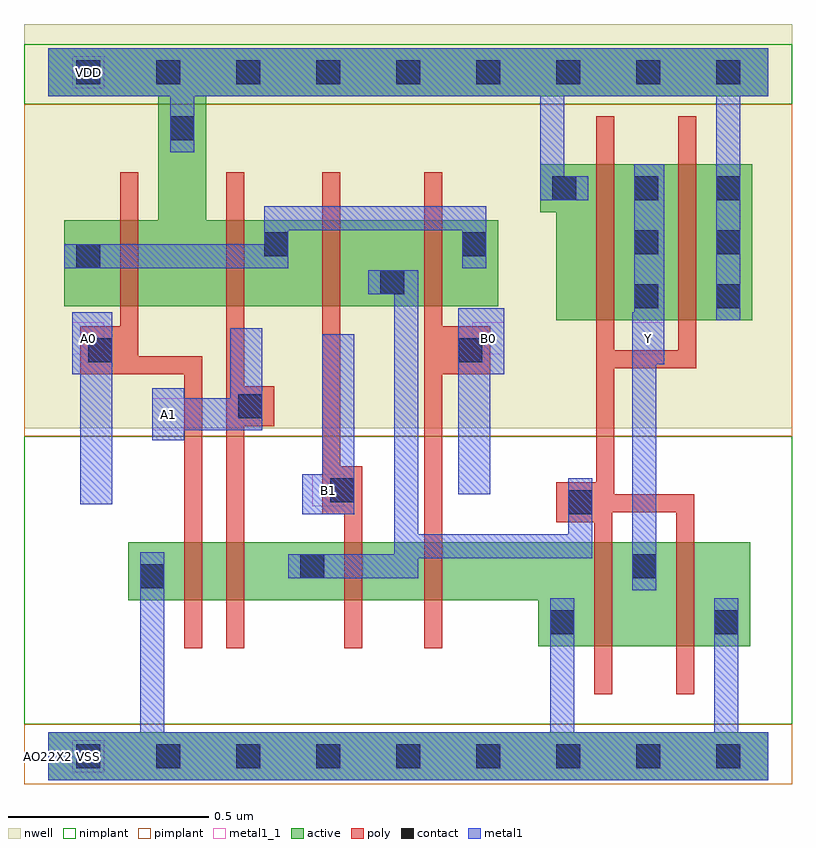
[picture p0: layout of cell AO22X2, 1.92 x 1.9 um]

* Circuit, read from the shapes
.subckt AO22X2 A0 A1 B0 B1 VDD VSS Y
M1 n1 A0 VSS VSS nfet w=0.145u l=0.045u
M2 n2 A1 n1 VSS nfet w=0.145u l=0.045u
M3 n3 B1 n2 VSS nfet w=0.145u l=0.045u
M4 VSS B0 n3 VSS nfet w=0.145u l=0.045u
M5 Y n2 VSS VSS nfet w=0.26u l=0.045u m=2
M6 VDD A0 n4 VDD pfet w=0.215u l=0.045u
M7 n4 A1 VDD VDD pfet w=0.215u l=0.045u
M8 n2 B1 n4 VDD pfet w=0.215u l=0.045u
M9 n4 B0 n2 VDD pfet w=0.215u l=0.045u
M10 Y n2 VDD VDD pfet w=0.39u l=0.045u m=2
.ends

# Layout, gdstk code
import gdstk
lib = gdstk.Library(unit=1e-6, precision=5e-10)
def R(c, l, rs):  # rectangles x0, y0, x1, y1
    for r in rs: c.add(gdstk.rectangle(r[:2], r[2:], *l))
def A(c, l, x, y, w, h, nx, ny, dx, dy):  # array of equal rectangles
    R(c, l, [(x+i*dx, y+j*dy, x+i*dx+w, y+j*dy+h) for i in range(nx) for j in range(ny)])
def P(c, l, *ps):  # polygons
    for p in ps: c.add(gdstk.Polygon(p, *l))
active = (1, 0)
nwell = (2, 0)
poly = (3, 0)
nimplant = (4, 0)
pimplant = (5, 0)
contact = (6, 0)
metal1 = (7, 0)
metal1_1 = (7, 1)

ao22x2 = lib.new_cell('AO22X2')
R(ao22x2, active, [(0,-0.06,1.8,0.06)])
P(ao22x2, active, [(0,1.77),(1.8,1.77),(1.8,1.65),(0.395,1.65),(0.395,1.34),(1.125,1.34),(1.125,1.125),(0.04,1.125),(0.04,1.34),(0.275,1.34),(0.275,1.65),(0,1.65)],
  [(1.23,1.48),(1.76,1.48),(1.76,1.09),(1.27,1.09),(1.27,1.36),(1.23,1.36)],
  [(0.2,0.535),(1.755,0.535),(1.755,0.275),(1.225,0.275),(1.225,0.39),(0.2,0.39)])
R(ao22x2, nwell, [(-0.06,0.82,1.86,1.83)])
P(ao22x2, poly, [(1.37,1.6),(1.415,1.6),(1.415,1.015),(1.575,1.015),(1.575,1.6),(1.62,1.6),(1.62,0.97),(1.415,0.97),(1.415,0.655),(1.615,0.655),(1.615,0.155),(1.57,0.155),(1.57,0.61),(1.41,0.61),(1.41,0.155),(1.365,0.155),(1.365,0.585),(1.27,0.585),(1.27,0.685),(1.37,0.685)],
  [(0.18,1.46),(0.225,1.46),(0.225,1),(0.385,1),(0.385,0.27),(0.34,0.27),(0.34,0.955),(0.08,0.955),(0.08,1.075),(0.18,1.075)],
  [(0.445,1.46),(0.49,1.46),(0.49,0.925),(0.565,0.925),(0.565,0.825),(0.49,0.825),(0.49,0.27),(0.445,0.27)],
  [(0.685,1.46),(0.73,1.46),(0.73,0.725),(0.785,0.725),(0.785,0.27),(0.74,0.27),(0.74,0.605),(0.685,0.605)],
  [(0.94,1.46),(0.985,1.46),(0.985,1.075),(1.105,1.075),(1.105,0.955),(0.985,0.955),(0.985,0.27),(0.94,0.27)])
R(ao22x2, nimplant, [(-0.06,0.08,1.86,0.8), (-0.06,1.63,1.86,1.78)])
R(ao22x2, pimplant, [(-0.06,-0.07,1.86,0.08), (-0.06,0.8,1.86,1.63)])
A(ao22x2, contact, 0.07, -0.03, 0.06, 0.06, 9, 2, 0.2, 1.71)
A(ao22x2, contact, 1.26, 1.39, 0.06, 0.06, 3, 1, 0.205, 0)
R(ao22x2, contact, [(1.255,0.305,1.315,0.365), (1.665,0.305,1.725,0.365), (0.23,0.42,0.29,0.48), (0.63,0.445,0.69,0.505), (1.46,0.445,1.52,0.505), (1.3,0.605,1.36,0.665), (0.705,0.635,0.765,0.695), (0.475,0.845,0.535,0.905), (0.1,0.985,0.16,1.045), (1.025,0.985,1.085,1.045), (1.465,1.12,1.525,1.18), (1.67,1.12,1.73,1.18), (0.83,1.155,0.89,1.215), (0.07,1.22,0.13,1.28), (0.54,1.25,0.6,1.31), (1.035,1.25,1.095,1.31), (1.465,1.255,1.525,1.315), (1.67,1.255,1.73,1.315), (0.305,1.54,0.365,1.6)])
P(ao22x2, metal1, [(0,1.77),(1.8,1.77),(1.8,1.65),(1.73,1.65),(1.73,1.09),(1.67,1.09),(1.67,1.65),(1.29,1.65),(1.29,1.45),(1.35,1.45),(1.35,1.39),(1.23,1.39),(1.23,1.65),(0.365,1.65),(0.365,1.51),(0.305,1.51),(0.305,1.65),(0,1.65)],
  [(1.465,1.48),(1.54,1.48),(1.54,0.98),(1.52,0.98),(1.52,0.415),(1.46,0.415),(1.46,1.11),(1.465,1.11)],
  [(0.54,1.375),(1.095,1.375),(1.095,1.22),(1.035,1.22),(1.035,1.315),(0.6,1.315),(0.6,1.22),(0.04,1.22),(0.04,1.28),(0.54,1.28)],
  [(0.8,1.215),(0.925,1.215),(0.925,0.555),(1.3,0.555),(1.3,0.695),(1.36,0.695),(1.36,0.495),(0.925,0.495),(0.925,0.445),(0.6,0.445),(0.6,0.505),(0.865,0.505),(0.865,1.155),(0.8,1.155)],
  [(0.06,1.11),(0.16,1.11),(0.16,0.63),(0.08,0.63),(0.08,0.955),(0.06,0.955)],
  [(0.26,0.92),(0.34,0.92),(0.34,0.895),(0.455,0.895),(0.455,1.07),(0.535,1.07),(0.535,0.815),(0.34,0.815),(0.34,0.79),(0.26,0.79)],
  [(0.685,1.055),(0.765,1.055),(0.765,0.605),(0.635,0.605),(0.635,0.705),(0.685,0.705)],
  [(1.025,1.12),(1.14,1.12),(1.14,0.955),(1.105,0.955),(1.105,0.655),(1.025,0.655)],
  [(0.23,0.51),(0.29,0.51),(0.29,0.06),(1.255,0.06),(1.255,0.395),(1.315,0.395),(1.315,0.06),(1.665,0.06),(1.665,0.395),(1.725,0.395),(1.725,0.06),(1.8,0.06),(1.8,-0.06),(0,-0.06),(0,0.06),(0.23,0.06)])
R(ao22x2, metal1_1, [(0.06,-0.04,0.14,0.04), (0.66,0.625,0.74,0.705), (0.26,0.815,0.34,0.895), (0.06,1.005,0.14,1.085), (1.06,1.005,1.14,1.085), (1.46,1.005,1.54,1.085), (0.06,1.67,0.14,1.75)])
ao22x2.add(gdstk.Label('Y', (1.5,1.045), layer=7, texttype=1))
ao22x2.add(gdstk.Label('B0', (1.1,1.045), layer=7, texttype=1))
ao22x2.add(gdstk.Label('A0', (0.1,1.045), layer=7, texttype=1))
ao22x2.add(gdstk.Label('B1', (0.7,0.665), layer=7, texttype=1))
ao22x2.add(gdstk.Label('A1', (0.3,0.855), layer=7, texttype=1))
ao22x2.add(gdstk.Label('VDD', (0.1,1.71), layer=7, texttype=1))
ao22x2.add(gdstk.Label('VSS', (0.1,0), layer=7, texttype=1))
ao22x2.add(gdstk.Label('AO22X2', (0,0), layer=63, texttype=0))

lib.write_gds('AO22X2.gds')
